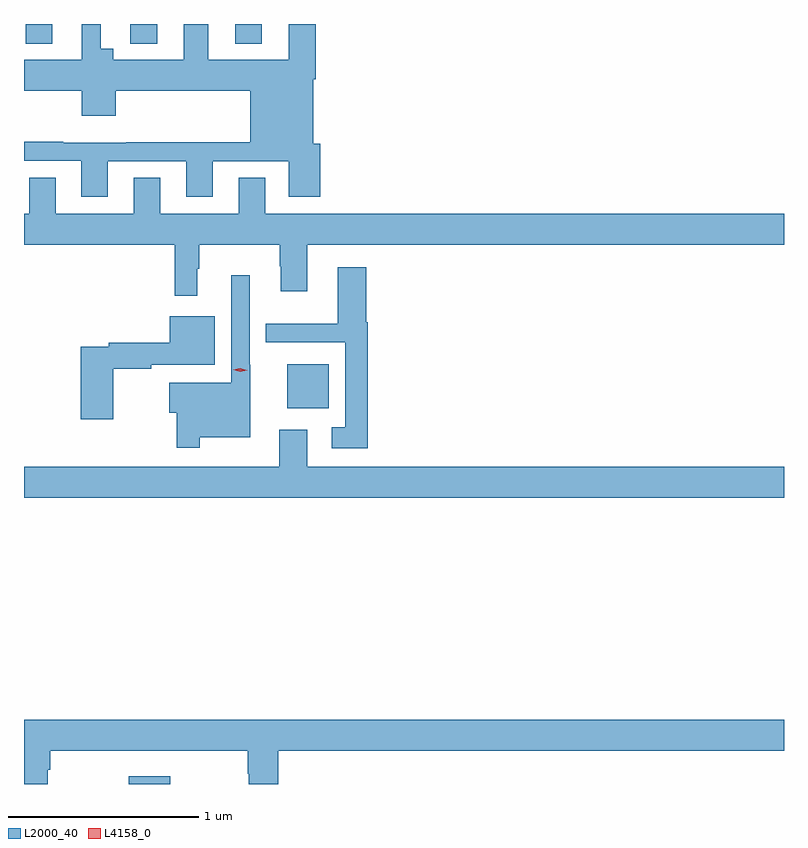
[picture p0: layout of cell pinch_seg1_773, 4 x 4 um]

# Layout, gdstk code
import gdstk
lib = gdstk.Library(unit=1e-6, precision=1e-09)
def R(c, l, rs):  # rectangles x0, y0, x1, y1
    for r in rs: c.add(gdstk.rectangle(r[:2], r[2:], *l))
def A(c, l, x, y, w, h, nx, ny, dx, dy):  # array of equal rectangles
    R(c, l, [(x+i*dx, y+j*dy, x+i*dx+w, y+j*dy+h) for i in range(nx) for j in range(ny)])
def P(c, l, *ps):  # polygons
    for p in ps: c.add(gdstk.Polygon(p, *l))
L2000_40 = (2000, 40)
L4158_0 = (4158, 0)

pinch_seg1_773 = lib.new_cell('pinch_seg1_773')
A(pinch_seg1_773, L2000_40, 515.579, 551.459, 0.14, 0.103, 3, 1, 0.552, 0)
R(pinch_seg1_773, L2000_40, [(516.122,547.562,516.34,547.603), (516.956,549.539,517.174,549.772)])
P(pinch_seg1_773, L2000_40, [(516.013,550.839),(516.425,550.839),(516.425,550.653),(516.565,550.653),(516.565,550.839),(516.965,550.839),(516.965,550.653),(517.13,550.653),(517.13,550.932),(517.093,550.932),(517.093,551.27),(517.106,551.27),(517.106,551.562),(516.965,551.562),(516.965,551.374),(516.541,551.374),(516.541,551.562),(516.413,551.562),(516.413,551.374),(516.04,551.374),(516.04,551.431),(515.974,551.431),(515.974,551.562),(515.876,551.562),(515.876,551.374),(515.571,551.374),(515.571,551.21),(515.875,551.21),(515.875,551.079),(516.053,551.079),(516.053,551.21),(516.761,551.21),(516.761,550.94),(516.109,550.94),(516.109,550.936),(515.777,550.936),(515.777,550.943),(515.571,550.943),(515.571,550.842),(515.873,550.842),(515.873,550.653),(516.013,550.653)],
  [(516.482,550.274),(516.493,550.274),(516.493,550.4),(516.916,550.4),(516.916,550.286),(516.923,550.286),(516.923,550.155),(517.063,550.155),(517.063,550.4),(519.571,550.4),(519.571,550.564),(516.841,550.564),(516.841,550.754),(516.701,550.754),(516.701,550.564),(516.289,550.564),(516.289,550.754),(516.149,550.754),(516.149,550.564),(515.737,550.564),(515.737,550.754),(515.598,550.754),(515.598,550.564),(515.571,550.564),(515.571,550.4),(516.364,550.4),(516.364,550.131),(516.482,550.131)],
  [(517.379,549.991),(517.373,549.991),(517.373,550.282),(517.223,550.282),(517.223,549.985),(516.844,549.985),(516.844,549.888),(517.263,549.888),(517.263,549.439),(517.191,549.439),(517.191,549.33),(517.379,549.33)],
  [(516.496,549.386),(516.761,549.386),(516.761,549.769),(516.759,549.769),(516.759,550.24),(516.663,550.24),(516.663,549.673),(516.336,549.673),(516.336,549.515),(516.375,549.515),(516.375,549.333),(516.496,549.333)],
  [(516.04,549.748),(516.242,549.748),(516.242,549.768),(516.574,549.768),(516.574,550.024),(516.338,550.024),(516.338,549.884),(516.016,549.884),(516.016,549.864),(515.87,549.864),(515.87,549.483),(516.04,549.483)],
  [(519.571,549.232),(517.063,549.232),(517.063,549.427),(516.914,549.427),(516.914,549.232),(515.571,549.232),(515.571,549.068),(519.571,549.068)],
  [(515.695,547.638),(515.708,547.638),(515.708,547.736),(516.748,547.736),(516.748,547.616),(516.755,547.616),(516.755,547.562),(516.908,547.562),(516.908,547.736),(519.571,547.736),(519.571,547.9),(515.571,547.9),(515.571,547.562),(515.695,547.562)])
P(pinch_seg1_773, L4158_0, [(516.708,549.731),(516.673,549.742),(516.673,549.743),(516.673,549.743),(516.709,549.751),(516.744,549.739),(516.745,549.739),(516.744,549.739)])

lib.write_gds('pinch_seg1_773.gds')
